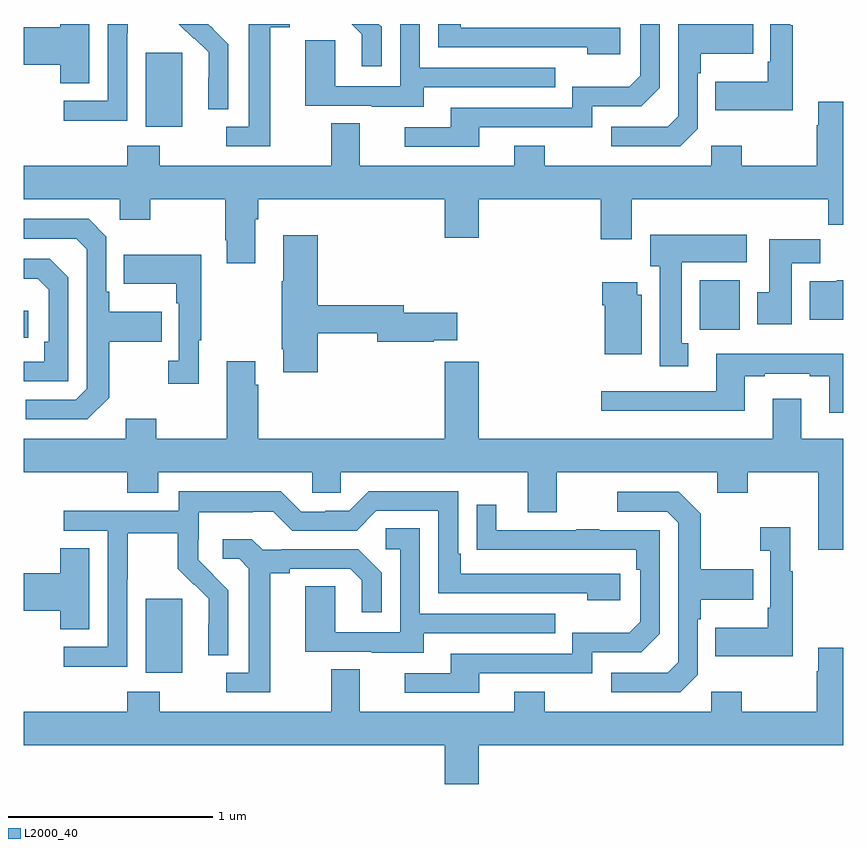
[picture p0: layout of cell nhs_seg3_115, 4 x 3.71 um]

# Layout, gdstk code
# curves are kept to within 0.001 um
import gdstk
lib = gdstk.Library(unit=1e-6, precision=1e-09)
def R(c, l, rs):  # rectangles x0, y0, x1, y1
    for r in rs: c.add(gdstk.rectangle(r[:2], r[2:], *l))
def P(c, l, *ps):  # polygons
    for p in ps: c.add(gdstk.Polygon(p, *l))
L2000_40 = (2000, 40)

nhs_seg3_115 = lib.new_cell('nhs_seg3_115')
R(nhs_seg3_115, L2000_40, [(115.595,737.234,115.774,737.595), (115,738.87,115.024,739), (118.298,738.908,118.495,739.15), (115.595,739.898,115.774,740.259)])
P(nhs_seg3_115, L2000_40, [(118.29,739.89),(118.29,740.159),(118.303,740.159),(118.303,740.255),(118.559,740.255),(118.559,740.4),(118.194,740.4),(118.194,739.95),(118.143,739.899),(117.867,739.899),(117.867,739.803),(118.203,739.803)],
  [(116.953,740.091),(117.593,740.091),(117.593,740.187),(116.934,740.187),(116.934,740.4),(116.838,740.4),(116.838,740.097),(116.52,740.097),(116.52,740.321),(116.375,740.321),(116.375,740.001),(116.699,740.001),(116.699,739.997),(116.953,739.997)],
  [(115.321,740.4),(115.178,740.4),(115.178,740.384),(115,740.384),(115,740.201),(115.178,740.201),(115.178,740.11),(115.321,740.11)],
  [(116.203,740.384),(116.299,740.384),(116.299,740.4),(116.099,740.4),(116.099,739.899),(115.989,739.899),(115.989,739.803),(116.203,739.803)],
  [(116.748,740.386),(116.734,740.4),(116.6,740.4),(116.651,740.349),(116.651,740.193),(116.748,740.193)],
  [(115.506,740.356),(115.509,740.356),(115.509,740.4),(115.41,740.4),(115.41,740.025),(115.197,740.025),(115.197,739.927),(115.506,739.927)],
  [(115.998,740.302),(115.925,740.375),(115.926,740.376),(115.902,740.4),(115.758,740.4),(115.83,740.328),(115.833,740.331),(115.904,740.261),(115.904,740.138),(115.902,740.138),(115.902,739.984),(115.998,739.984)],
  [(117.223,739.896),(117.774,739.896),(117.774,739.998),(118.014,739.998),(118.104,740.088),(118.104,740.4),(118.008,740.4),(118.008,740.148),(117.955,740.095),(117.678,740.095),(117.678,739.992),(117.083,739.992),(117.083,739.896),(116.859,739.896),(116.859,739.8),(117.223,739.8)],
  [(118.753,740.395),(118.741,740.395),(118.741,740.4),(118.644,740.4),(118.644,740.215),(118.632,740.215),(118.632,740.119),(118.375,740.119),(118.375,739.979),(118.753,739.979)],
  [(117.91,740.382),(117.133,740.382),(117.133,740.4),(117.024,740.4),(117.024,740.286),(117.749,740.286),(117.749,740.252),(117.91,740.252)],
  [(116.131,739.448),(116.144,739.448),(116.144,739.544),(117.056,739.544),(117.056,739.356),(117.22,739.356),(117.22,739.544),(117.815,739.544),(117.815,739.35),(117.967,739.35),(117.967,739.544),(118.927,739.544),(118.927,739.42),(119,739.42),(119,740.02),(118.877,740.02),(118.877,739.907),(118.87,739.907),(118.87,739.708),(118.503,739.708),(118.503,739.807),(118.356,739.807),(118.356,739.708),(117.543,739.708),(117.543,739.807),(117.395,739.807),(117.395,739.708),(116.641,739.708),(116.641,739.916),(116.501,739.916),(116.501,739.708),(115.665,739.708),(115.665,739.807),(115.505,739.807),(115.505,739.708),(115,739.708),(115,739.544),(115.47,739.544),(115.47,739.445),(115.617,739.445),(115.617,739.544),(115.984,739.544),(115.984,739.345),(115.991,739.345),(115.991,739.233),(116.131,739.233)],
  [(115.417,738.577),(115.417,738.85),(115.673,738.85),(115.673,738.997),(115.417,738.997),(115.417,739.093),(115.404,739.093),(115.404,739.362),(115.317,739.449),(115,739.449),(115,739.353),(115.257,739.353),(115.308,739.302),(115.308,738.621),(115.254,738.567),(115.011,738.567),(115.011,738.471),(115.311,738.471)],
  [(118.243,738.842),(118.21,738.842),(118.21,739.238),(118.528,739.238),(118.528,739.372),(118.058,739.372),(118.058,739.218),(118.103,739.218),(118.103,738.729),(118.243,738.729)],
  [(116.435,738.892),(116.726,738.892),(116.726,738.85),(117.002,738.85),(117.002,738.857),(117.115,738.857),(117.115,738.992),(116.854,738.992),(116.854,739.028),(116.435,739.028),(116.435,739.369),(116.267,739.369),(116.267,739.145),(116.26,739.145),(116.26,738.814),(116.267,738.814),(116.267,738.702),(116.435,738.702)],
  [(118.747,739.232),(118.886,739.232),(118.886,739.351),(118.637,739.351),(118.637,739.092),(118.58,739.092),(118.58,738.936),(118.747,738.936)],
  [(115.855,738.857),(115.867,738.857),(115.867,739.273),(115.489,739.273),(115.489,739.133),(115.746,739.133),(115.746,739.037),(115.758,739.037),(115.758,738.758),(115.707,738.758),(115.707,738.645),(115.855,738.645)],
  [(115.218,739.164),(115.128,739.254),(115,739.254),(115,739.157),(115.069,739.157),(115.122,739.104),(115.122,738.85),(115.102,738.85),(115.102,738.753),(115,738.753),(115,738.657),(115.218,738.657)],
  [(119,739.15),(118.968,739.15),(118.968,739.144),(118.835,739.144),(118.835,738.956),(119,738.956)],
  [(118.015,739.08),(117.994,739.08),(117.994,739.141),(117.824,739.141),(117.824,739.028),(117.836,739.028),(117.836,738.788),(118.015,738.788)],
  [(119,738.79),(118.379,738.79),(118.379,738.609),(117.819,738.609),(117.819,738.512),(118.519,738.512),(118.519,738.681),(118.615,738.681),(118.615,738.693),(118.835,738.693),(118.835,738.681),(118.931,738.681),(118.931,738.504),(119,738.504)],
  [(119,738.376),(118.795,738.376),(118.795,738.571),(118.655,738.571),(118.655,738.376),(117.22,738.376),(117.22,738.751),(117.056,738.751),(117.056,738.376),(116.144,738.376),(116.144,738.641),(116.131,738.641),(116.131,738.754),(115.991,738.754),(115.991,738.376),(115.647,738.376),(115.647,738.475),(115.499,738.475),(115.499,738.376),(115,738.376),(115,738.212),(115.505,738.212),(115.505,738.113),(115.657,738.113),(115.657,738.212),(116.409,738.212),(116.409,738.114),(116.547,738.114),(116.547,738.212),(117.461,738.212),(117.461,738.018),(117.601,738.018),(117.601,738.212),(118.385,738.212),(118.385,738.113),(118.533,738.113),(118.533,738.212),(118.877,738.212),(118.877,737.835),(119,737.835)],
  [(115.506,737.692),(115.509,737.692),(115.509,737.916),(115.753,737.916),(115.753,737.741),(115.83,737.664),(115.833,737.667),(115.904,737.597),(115.904,737.474),(115.902,737.474),(115.902,737.32),(115.998,737.32),(115.998,737.638),(115.852,737.786),(115.852,737.883),(115.854,737.883),(115.854,738.017),(116.117,738.017),(116.117,738.021),(116.217,738.021),(116.31,737.928),(116.625,737.928),(116.721,738.024),(117.024,738.024),(117.024,737.622),(117.749,737.622),(117.749,737.588),(117.91,737.588),(117.91,737.718),(117.133,737.718),(117.133,737.815),(117.12,737.815),(117.12,738.12),(116.685,738.12),(116.589,738.024),(116.471,738.024),(116.471,738.021),(116.355,738.021),(116.255,738.121),(115.758,738.121),(115.758,738.024),(115.197,738.024),(115.197,737.928),(115.41,737.928),(115.41,737.361),(115.197,737.361),(115.197,737.263),(115.506,737.263)],
  [(118.29,737.226),(118.29,737.495),(118.303,737.495),(118.303,737.591),(118.559,737.591),(118.559,737.739),(118.303,737.739),(118.303,738.011),(118.197,738.117),(117.897,738.117),(117.897,738.021),(118.14,738.021),(118.194,737.967),(118.194,737.286),(118.143,737.235),(117.867,737.235),(117.867,737.139),(118.203,737.139)],
  [(117.223,737.232),(117.774,737.232),(117.774,737.334),(118.014,737.334),(118.104,737.424),(118.104,737.931),(117.809,737.931),(117.809,737.936),(117.697,737.936),(117.697,737.931),(117.307,737.931),(117.307,738.055),(117.211,738.055),(117.211,737.836),(117.988,737.835),(117.988,737.738),(118.008,737.738),(118.008,737.484),(117.955,737.431),(117.678,737.431),(117.678,737.328),(117.083,737.328),(117.083,737.232),(116.859,737.232),(116.859,737.136),(117.223,737.136)],
  [(118.753,737.731),(118.741,737.731),(118.741,737.944),(118.593,737.944),(118.593,737.831),(118.644,737.831),(118.644,737.551),(118.632,737.551),(118.632,737.455),(118.375,737.455),(118.375,737.315),(118.753,737.315)],
  [(116.953,737.427),(117.593,737.427),(117.593,737.523),(116.934,737.523),(116.934,737.939),(116.766,737.939),(116.766,737.838),(116.838,737.838),(116.838,737.433),(116.52,737.433),(116.52,737.657),(116.375,737.657),(116.375,737.337),(116.699,737.337),(116.699,737.333),(116.953,737.333)],
  [(116.203,737.72),(116.299,737.72),(116.299,737.742),(116.594,737.742),(116.651,737.685),(116.651,737.529),(116.748,737.529),(116.748,737.722),(116.632,737.838),(116.26,737.838),(116.26,737.835),(116.166,737.835),(116.114,737.887),(115.971,737.887),(115.971,737.79),(116.052,737.79),(116.099,737.743),(116.099,737.235),(115.989,737.235),(115.989,737.139),(116.203,737.139)],
  [(115.321,737.843),(115.178,737.843),(115.178,737.72),(115,737.72),(115,737.537),(115.178,737.537),(115.178,737.446),(115.321,737.446)],
  [(117.22,736.88),(119,736.88),(119,737.356),(118.877,737.356),(118.877,737.243),(118.87,737.243),(118.87,737.044),(118.503,737.044),(118.503,737.143),(118.356,737.143),(118.356,737.044),(117.543,737.044),(117.543,737.143),(117.395,737.143),(117.395,737.044),(116.641,737.044),(116.641,737.252),(116.501,737.252),(116.501,737.044),(115.665,737.044),(115.665,737.143),(115.505,737.143),(115.505,737.044),(115,737.044),(115,736.88),(117.056,736.88),(117.056,736.692),(117.22,736.692)])

lib.write_gds('nhs_seg3_115.gds')
